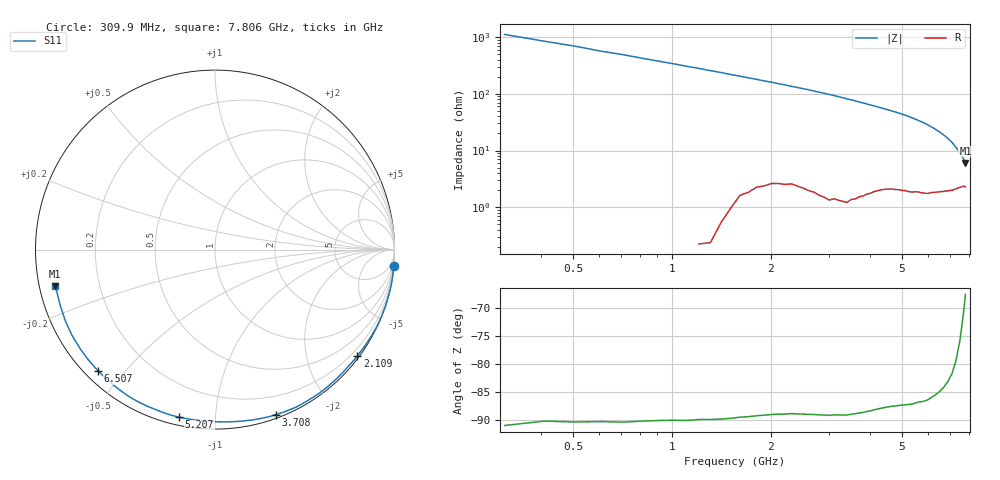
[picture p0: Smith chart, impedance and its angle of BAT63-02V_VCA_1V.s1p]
! Infineon Technologies  Discrete & RF Semiconductors
! BAT63-02V
! VCA = 1 V
! One-Port S-Parameters
# Hz  S  MA  R  50
!f  S11
!Hz  Mag  Ang
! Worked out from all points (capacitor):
!   76 points, 309.9 MHz to 7.806 GHz, reference 50 ohm
!   read as one part to ground: C = 461 fF near 309.9 MHz
!   lowest |Z| = 6.05 ohm at 7.806 GHz (marker M1)
!   S11 on the Smith chart (normalised r, x): 309.9 MHz: -0, -22; 2.109 GHz: 0.05, -3.01; 3.708 GHz: 0.03, -1.44; 5.207 GHz: 0.04, -0.81; 6.507 GHz: 0.04, -0.42; 7.806 GHz: 0.05, -0.11
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3.0985e8  1.002 -5.2
7.0965e8  1.002 -11.7
1.0095e9  1 -16.8
1.30935e9  0.9997 -22.1
1.6092e9  0.9964 -27.4
1.90905e9  0.9923 -33.1
2.009e9  0.9907 -34.7
2.10895e9  0.9896 -36.8
2.2089e9  0.9891 -38.5
2.6087e9  0.988 -46.2
2.8086e9  0.9884 -50.2
3.2084e9  0.9873 -58.6
3.4083e9  0.9868 -63.0
3.70815e9  0.9803 -69.6
4.10795e9  0.9705 -78.4
4.6077e9  0.9596 -89.1
5.0075e9  0.956 -97.6
5.2074e9  0.955 -102.0
5.4073e9  0.9534 -106.8
5.6072e9  0.9503 -111.5
5.8071e9  0.9498 -116.3
6.007e9  0.948 -121.2
6.30685e9  0.9421 -128.8
6.50675e9  0.9386 -133.9
6.90655e9  0.9325 -144.0
7.10645e9  0.9291 -149.2
7.30635e9  0.9236 -154.5
7.8061e9  0.913 -167.2
